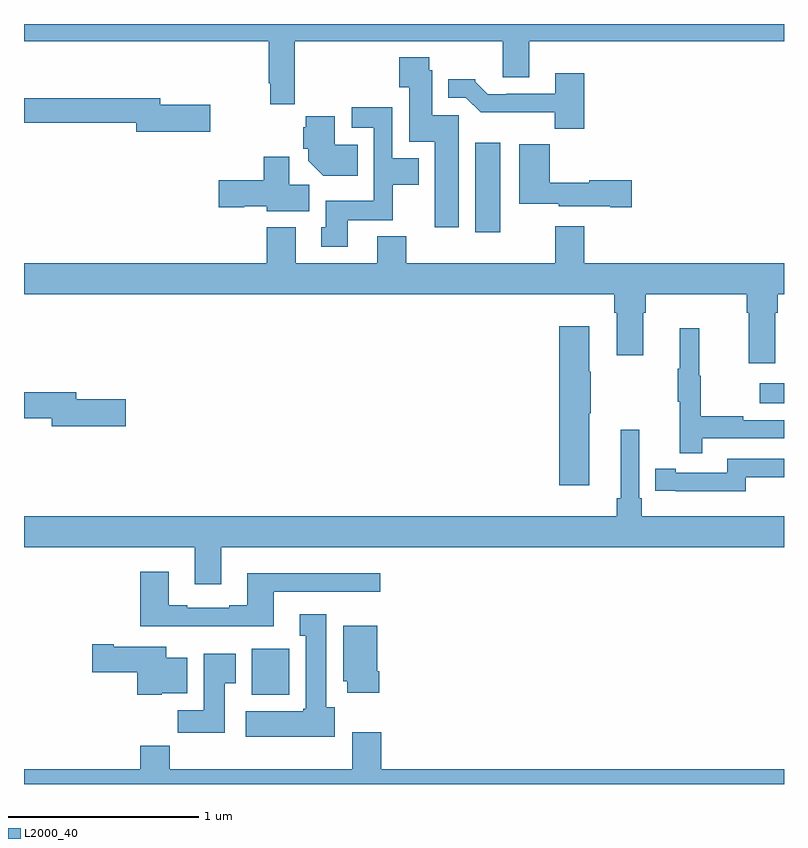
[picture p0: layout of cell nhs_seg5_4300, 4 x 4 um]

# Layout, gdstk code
import gdstk
lib = gdstk.Library(unit=1e-6, precision=1e-09)
def R(c, l, rs):  # rectangles x0, y0, x1, y1
    for r in rs: c.add(gdstk.rectangle(r[:2], r[2:], *l))
def P(c, l, *ps):  # polygons
    for p in ps: c.add(gdstk.Polygon(p, *l))
L2000_40 = (2000, 40)

nhs_seg5_4300 = lib.new_cell('nhs_seg5_4300')
R(nhs_seg5_4300, L2000_40, [(364.199,905.27,364.396,905.512), (366.873,906.803,367,906.907), (365.375,907.704,365.506,908.173)])
P(nhs_seg5_4300, L2000_40, [(363,908.708),(364.288,908.708),(364.288,908.488),(364.296,908.488),(364.296,908.376),(364.424,908.376),(364.424,908.708),(365.519,908.708),(365.519,908.518),(365.659,908.518),(365.659,908.708),(367,908.708),(367,908.799),(363,908.799)],
  [(365.287,908.319),(365.149,908.319),(365.149,908.556),(365.133,908.556),(365.133,908.623),(364.976,908.623),(364.976,908.467),(365.027,908.467),(365.027,908.18),(365.162,908.18),(365.162,907.728),(365.287,907.728)],
  [(365.948,908.539),(365.795,908.539),(365.795,908.433),(365.539,908.433),(365.539,908.43),(365.44,908.43),(365.376,908.494),(365.376,908.509),(365.234,908.509),(365.234,908.412),(365.325,908.412),(365.404,908.334),(365.793,908.334),(365.793,908.249),(365.948,908.249)],
  [(363.979,908.373),(363.718,908.373),(363.718,908.407),(363,908.407),(363,908.278),(363.59,908.278),(363.59,908.231),(363.979,908.231)],
  [(364.705,907.766),(364.941,907.766),(364.941,907.952),(365.077,907.952),(365.077,908.092),(364.938,908.092),(364.938,908.362),(364.725,908.362),(364.725,908.253),(364.842,908.253),(364.842,907.87),(364.589,907.87),(364.589,907.728),(364.565,907.728),(364.565,907.626),(364.705,907.626)],
  [(364.757,908.164),(364.636,908.164),(364.636,908.314),(364.484,908.314),(364.484,908.256),(364.471,908.256),(364.471,908.142),(364.496,908.142),(364.496,908.078),(364.574,908),(364.757,908)],
  [(366.199,907.976),(365.976,907.976),(365.976,907.963),(365.768,907.963),(365.768,908.167),(365.606,908.167),(365.606,907.853),(365.814,907.853),(365.814,907.841),(366.086,907.841),(366.086,907.834),(366.199,907.834)],
  [(364.501,907.952),(364.396,907.952),(364.396,908.101),(364.262,908.101),(364.262,907.976),(364.026,907.976),(364.026,907.834),(364.158,907.834),(364.158,907.841),(364.278,907.841),(364.278,907.814),(364.501,907.814)],
  [(365.948,907.735),(365.795,907.735),(365.795,907.54),(365.012,907.54),(365.012,907.681),(364.859,907.681),(364.859,907.54),(364.429,907.54),(364.429,907.729),(364.277,907.729),(364.277,907.54),(363,907.54),(363,907.376),(366.107,907.376),(366.107,907.28),(366.119,907.28),(366.119,907.056),(366.259,907.056),(366.259,907.28),(366.272,907.28),(366.272,907.376),(366.803,907.376),(366.803,907.28),(366.815,907.28),(366.815,907.014),(366.955,907.014),(366.955,907.28),(366.968,907.28),(366.968,907.376),(367,907.376),(367,907.54),(365.948,907.54)],
  [(365.974,906.751),(365.982,906.751),(365.982,906.968),(365.974,906.968),(365.974,907.207),(365.816,907.207),(365.816,906.372),(365.974,906.372)],
  [(366.569,906.618),(367,906.618),(367,906.714),(366.785,906.714),(366.785,906.734),(366.562,906.734),(366.562,906.948),(366.554,906.948),(366.554,907.198),(366.452,907.198),(366.452,906.985),(366.441,906.985),(366.441,906.811),(366.452,906.811),(366.452,906.54),(366.569,906.54)],
  [(363.535,906.824),(363.274,906.824),(363.274,906.86),(363,906.86),(363,906.724),(363.146,906.724),(363.146,906.682),(363.535,906.682)],
  [(364.039,906.044),(367,906.044),(367,906.208),(366.251,906.208),(366.251,906.304),(366.237,906.304),(366.237,906.664),(366.14,906.664),(366.14,906.304),(366.121,906.304),(366.121,906.208),(363,906.208),(363,906.044),(363.899,906.044),(363.899,905.85),(364.039,905.85)],
  [(366.798,906.414),(367,906.414),(367,906.51),(366.702,906.51),(366.702,906.438),(366.43,906.438),(366.43,906.458),(366.322,906.458),(366.322,906.342),(366.43,906.342),(366.43,906.341),(366.798,906.341)],
  [(364.315,905.811),(364.876,905.811),(364.876,905.908),(364.175,905.908),(364.175,905.74),(364.079,905.74),(364.079,905.727),(363.859,905.727),(363.859,905.74),(363.763,905.74),(363.763,905.917),(363.611,905.917),(363.611,905.63),(364.315,905.63)],
  [(364.636,905.202),(364.591,905.202),(364.591,905.692),(364.451,905.692),(364.451,905.579),(364.484,905.579),(364.484,905.196),(364.471,905.196),(364.471,905.182),(364.167,905.182),(364.167,905.048),(364.636,905.048)],
  [(364.871,905.392),(364.858,905.392),(364.858,905.632),(364.679,905.632),(364.679,905.34),(364.7,905.34),(364.7,905.28),(364.871,905.28)],
  [(363.726,905.276),(363.859,905.276),(363.859,905.464),(363.748,905.464),(363.748,905.521),(363.472,905.521),(363.472,905.534),(363.36,905.534),(363.36,905.387),(363.596,905.387),(363.596,905.27),(363.726,905.27)],
  [(364.057,905.329),(364.114,905.329),(364.114,905.485),(363.947,905.485),(363.947,905.188),(363.808,905.188),(363.808,905.07),(364.057,905.07)],
  [(367,904.876),(364.88,904.876),(364.88,905.071),(364.727,905.071),(364.727,904.876),(363.767,904.876),(363.767,905),(363.611,905),(363.611,904.876),(363,904.876),(363,904.799),(367,904.799)])

lib.write_gds('nhs_seg5_4300.gds')
